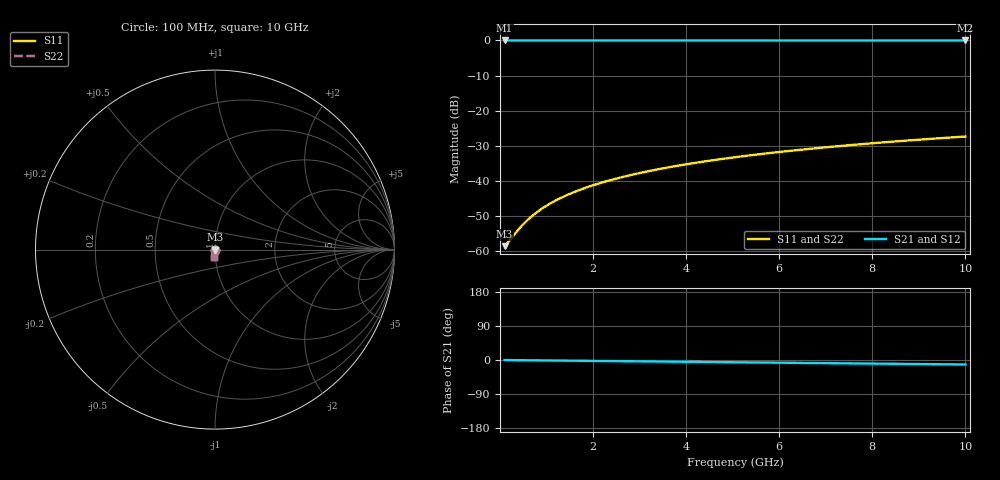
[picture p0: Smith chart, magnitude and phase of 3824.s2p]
# Hz S RI R 50.00
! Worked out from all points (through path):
!   100 points, 100 MHz to 10 GHz, reference 50 ohm
!   highest |S21| = -0.01 dB at 100 MHz (marker M1); lowest = 0.0 dB at 10 GHz (marker M2)
!   group delay of S21, straight-line fit = 3.29 ps
!   lowest |S11| = -58.5 dB at 100 MHz (marker M3), VSWR 1.00, Z = 50.1 - j0.0434 ohm
!   |S11| at or under -10 dB: start of sweep to end of sweep
!   |S22| runs from -58.5 to -27.3 dB; largest |S21 - S12| = 0
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1e8  0.0011 -0.000433  0.9989 -0.00206  0.9989 -0.00206  0.0011 -0.000433
2e8  0.0011 -0.000866  0.9989 -0.00412  0.9989 -0.00412  0.0011 -0.000866
4e8  0.0011 -0.00173  0.9988 -0.00824  0.9988 -0.00824  0.0011 -0.00173
5e8  0.0011 -0.00217  0.9988 -0.0103  0.9988 -0.0103  0.0011 -0.00217
6e8  0.00109 -0.0026  0.9988 -0.0124  0.9988 -0.0124  0.00109 -0.0026
7e8  0.00108 -0.00303  0.9988 -0.0144  0.9988 -0.0144  0.00108 -0.00303
8e8  0.00107 -0.00347  0.9987 -0.0165  0.9987 -0.0165  0.00107 -0.00347
1e9  0.00104 -0.00433  0.9986 -0.0206  0.9986 -0.0206  0.00104 -0.00433
1.2e9  0.001 -0.0052  0.9985 -0.0247  0.9985 -0.0247  0.001 -0.0052
1.5e9  0.000931 -0.0065  0.9983 -0.0309  0.9983 -0.0309  0.000931 -0.0065
1.8e9  0.000845 -0.00779  0.9981 -0.0371  0.9981 -0.0371  0.000845 -0.00779
2.1e9  0.000742 -0.00909  0.9978 -0.0433  0.9978 -0.0433  0.000742 -0.00909
2.5e9  0.00058 -0.0108  0.9974 -0.0515  0.9974 -0.0515  0.00058 -0.0108
2.9e9  0.000389 -0.0125  0.9969 -0.0597  0.9969 -0.0597  0.000389 -0.0125
3.4e9  0.000109 -0.0147  0.9962 -0.07  0.9962 -0.07  0.000109 -0.0147
4.2e9  -0.00043 -0.0181  0.9948 -0.0865  0.9948 -0.0865  -0.00043 -0.0181
5.1e9  -0.00117 -0.022  0.993 -0.1049  0.993 -0.1049  -0.00117 -0.022
5.9e9  -0.00195 -0.0254  0.991 -0.1213  0.991 -0.1213  -0.00195 -0.0254
6.7e9  -0.00285 -0.0287  0.9887 -0.1377  0.9887 -0.1377  -0.00285 -0.0287
7.5e9  -0.00385 -0.0321  0.9862 -0.154  0.9862 -0.154  -0.00385 -0.0321
8.4e9  -0.00511 -0.0358  0.983 -0.1723  0.983 -0.1723  -0.00511 -0.0358
1e10  -0.00769 -0.0423  0.9765 -0.2047  0.9765 -0.2047  -0.00769 -0.0423
